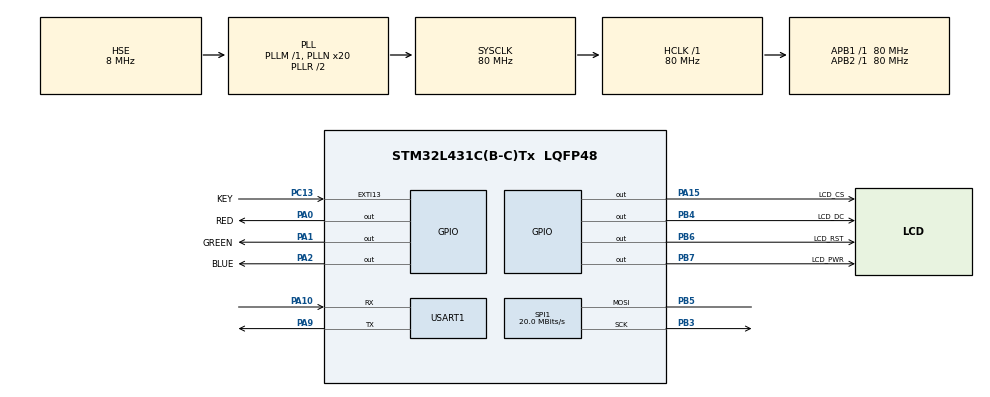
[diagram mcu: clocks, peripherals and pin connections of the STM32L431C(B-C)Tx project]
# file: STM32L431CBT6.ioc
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Dma.Request0=SPI1_TX
Dma.SPI1_TX.0.Direction=DMA_MEMORY_TO_PERIPH
Dma.SPI1_TX.0.Instance=DMA1_Channel3
Dma.SPI1_TX.0.MemDataAlignment=DMA_MDATAALIGN_BYTE
Dma.SPI1_TX.0.MemInc=DMA_MINC_ENABLE
Dma.SPI1_TX.0.Mode=DMA_NORMAL
Dma.SPI1_TX.0.PeriphDataAlignment=DMA_PDATAALIGN_BYTE
Dma.SPI1_TX.0.PeriphInc=DMA_PINC_DISABLE
Dma.SPI1_TX.0.Priority=DMA_PRIORITY_LOW
Mcu.Family=STM32L4
Mcu.Name=STM32L431C(B-C)Tx
Mcu.Package=LQFP48
NVIC.DMA1_Channel3_IRQn=true\:0\:0\:false\:false\:true\:false\:true\:true
NVIC.EXTI15_10_IRQn=true\:1\:0\:true\:false\:true\:true\:true\:true
NVIC.PriorityGroup=NVIC_PRIORITYGROUP_4
NVIC.USART1_IRQn=true\:0\:0\:false\:false\:true\:true\:true\:true
PA0.GPIO_Label=RED
PA0.GPIO_PuPd=GPIO_PULLUP
PA0.PinState=GPIO_PIN_SET
PA0.Signal=GPIO_Output
PA1.GPIO_Label=GREEN
PA1.GPIO_PuPd=GPIO_PULLUP
PA1.PinState=GPIO_PIN_SET
PA1.Signal=GPIO_Output
PA10.Mode=Asynchronous
PA10.Signal=USART1_RX
PA13\ (JTMS-SWDIO).Mode=Serial_Wire
PA13\ (JTMS-SWDIO).Signal=SYS_JTMS-SWDIO
PA14\ (JTCK-SWCLK).Mode=Serial_Wire
PA14\ (JTCK-SWCLK).Signal=SYS_JTCK-SWCLK
PA15\ (JTDI).GPIO_Label=LCD_CS
PA15\ (JTDI).GPIO_PuPd=GPIO_PULLUP
PA15\ (JTDI).Signal=GPIO_Output
PA2.GPIO_Label=BLUE
PA2.GPIO_PuPd=GPIO_PULLUP
PA2.PinState=GPIO_PIN_SET
PA2.Signal=GPIO_Output
PA9.Mode=Asynchronous
PA9.Signal=USART1_TX
PB3\ (JTDO-TRACESWO).GPIO_PuPd=GPIO_PULLUP
PB3\ (JTDO-TRACESWO).Mode=Simplex_Bidirectional_Master
PB3\ (JTDO-TRACESWO).Signal=SPI1_SCK
PB4\ (NJTRST).GPIO_Label=LCD_DC
PB4\ (NJTRST).GPIO_PuPd=GPIO_PULLUP
PB4\ (NJTRST).Signal=GPIO_Output
PB5.GPIO_PuPd=GPIO_PULLUP
PB5.Mode=Simplex_Bidirectional_Master
PB5.Signal=SPI1_MOSI
PB6.GPIO_Label=LCD_RST
PB6.GPIO_PuPd=GPIO_PULLUP
PB6.PinState=GPIO_PIN_RESET
PB6.Signal=GPIO_Output
PB7.GPIO_Label=LCD_PWR
PB7.GPIO_PuPd=GPIO_PULLUP
PB7.Signal=GPIO_Output
PC13.GPIO_Label=KEY
PC13.GPIO_PuPd=GPIO_PULLUP
PC13.Signal=GPXTI13
PH0-OSC_IN\ (PH0).Mode=HSE-External-Oscillator
PH0-OSC_IN\ (PH0).Signal=RCC_OSC_IN
PH1-OSC_OUT\ (PH1).Mode=HSE-External-Oscillator
PH1-OSC_OUT\ (PH1).Signal=RCC_OSC_OUT
ProjectManager.HeapSize=0x400
ProjectManager.StackSize=0x400
ProjectManager.TargetToolchain=CMake
RCC.ADCFreq_Value=32000000
RCC.AHBFreq_Value=80000000
RCC.APB1Freq_Value=80000000
RCC.APB1TimFreq_Value=80000000
RCC.APB2Freq_Value=80000000
RCC.APB2TimFreq_Value=80000000
RCC.CortexFreq_Value=80000000
RCC.HCLKFreq_Value=80000000
RCC.HSE_VALUE=8000000
RCC.HSI48_VALUE=48000000
RCC.HSI_VALUE=16000000
RCC.LSE_VALUE=32768
RCC.MSI_VALUE=4000000
RCC.PLLN=20
RCC.PLLSourceVirtual=RCC_PLLSOURCE_HSE
RCC.SYSCLKFreq_VALUE=80000000
RCC.SYSCLKSource=RCC_SYSCLKSOURCE_PLLCLK
RCC.VCOOutputFreq_Value=160000000
SPI1.BaudRatePrescaler=SPI_BAUDRATEPRESCALER_4
SPI1.CLKPhase=SPI_PHASE_2EDGE
SPI1.CLKPolarity=SPI_POLARITY_HIGH
SPI1.CalculateBaudRate=20.0 MBits/s
SPI1.DataSize=SPI_DATASIZE_8BIT
SPI1.Direction=SPI_DIRECTION_1LINE
SPI1.Mode=SPI_MODE_MASTER
SPI1.VirtualType=VM_MASTER
USART1.VirtualMode-Asynchronous=VM_ASYNC
board=custom

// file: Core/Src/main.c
/* USER CODE BEGIN Header */
/**
  ******************************************************************************
  * @file           : main.c
  * @brief          : Main program body
  ******************************************************************************
  * @attention
  *
  * Copyright (c) 2026 STMicroelectronics.
  * All rights reserved.
  *
  * This software is licensed under terms that can be found in the LICENSE file
  * in the root directory of this software component.
  * If no LICENSE file comes with this software, it is provided AS-IS.
  *
  ******************************************************************************
  */
/* USER CODE END Header */
#include "main.h"
#include "dma.h"
#include "spi.h"
#include "usart.h"
#include "gpio.h"

/* USER CODE BEGIN Includes */
#include "lcd.h"
#include "key.h"
#include "menu.h"
#include "ota_core.h"
#include "ota_proto.h"
/* USER CODE END Includes */

/* USER CODE BEGIN PV */
ota_ctx_t g_ota_ctx;
proto_ctx_t g_proto_ctx;
static uint8_t g_rx_byte;
volatile uint8_t g_frame_ready;

static uint16_t line_buffer[2400];

lcd_io lcd_io_desc = {
    .spi = &hspi1,
    .rst = {LCD_RST_GPIO_Port,  LCD_RST_Pin,  0},
    .bl  = {LCD_PWR_GPIO_Port,  LCD_PWR_Pin,  0},
    .cs  = {LCD_CS_GPIO_Port,   LCD_CS_Pin,   0},
    .dc  = {LCD_DC_GPIO_Port,   LCD_DC_Pin,   0},
};

lcd lcd_dev = {
    .io = &lcd_io_desc,
    .line_buffer = line_buffer,
};
/* USER CODE END PV */

void SystemClock_Config(void);

/* USER CODE BEGIN 0 */
static void uart_send(const uint8_t *data, uint16_t len)
{
    HAL_UART_Transmit(&huart1, (uint8_t *)data, len, 1000);
}

void HAL_UART_RxCpltCallback(UART_HandleTypeDef *huart)
{
    if (huart->Instance == USART1) {
        if (proto_feed_byte(&g_proto_ctx, g_rx_byte)) {
            g_frame_ready = 1;
        }
        HAL_UART_Receive_IT(&huart1, &g_rx_byte, 1);
    }
}
/* USER CODE END 0 */

int main(void)
{

  /* MCU Configuration--------------------------------------------------------*/

  /* Reset of all peripherals, Initializes the Flash interface and the Systick. */
  HAL_Init();

  /* Configure the system clock */
  SystemClock_Config();

  /* Initialize all configured peripherals */
  MX_GPIO_Init();
  MX_DMA_Init();
  MX_USART1_UART_Init();
  MX_SPI1_Init();
  /* USER CODE BEGIN 2 */
  key_init();
  lcd_init_dev(&lcd_dev, LCD_1_14_INCH, LCD_ROTATE_90);
  menu_init(&lcd_dev);

  /* OTA: confirm new firmware is running OK */
  ota_confirm_app();

  /* OTA: init protocol and start UART receive */
  ota_init(&g_ota_ctx);
  proto_init(&g_proto_ctx, uart_send);
  HAL_UART_Receive_IT(&huart1, &g_rx_byte, 1);
  /* USER CODE END 2 */

  /* Infinite loop */
  while (1)
  {

    /* USER CODE BEGIN 3 */
    key_event_t evt = key_read();
    menu_process(evt);

    /* OTA: process complete frame if received */
    if (g_frame_ready) {
        g_frame_ready = 0;
        proto_process(&g_proto_ctx);
    }
  }
  /* USER CODE END 3 */
}

void SystemClock_Config(void)
{
  RCC_OscInitTypeDef RCC_OscInitStruct = {0};
  RCC_ClkInitTypeDef RCC_ClkInitStruct = {0};

  /** Configure the main internal regulator output voltage
  */
  if (HAL_PWREx_ControlVoltageScaling(PWR_REGULATOR_VOLTAGE_SCALE1) != HAL_OK)
  {
    Error_Handler();
  }

  /** Initializes the RCC Oscillators according to the specified parameters
  * in the RCC_OscInitTypeDef structure.
  */
  RCC_OscInitStruct.OscillatorType = RCC_OSCILLATORTYPE_HSE;
  RCC_OscInitStruct.HSEState = RCC_HSE_ON;
  RCC_OscInitStruct.PLL.PLLState = RCC_PLL_ON;
  RCC_OscInitStruct.PLL.PLLSource = RCC_PLLSOURCE_HSE;
  RCC_OscInitStruct.PLL.PLLM = 1;
  RCC_OscInitStruct.PLL.PLLN = 20;
  RCC_OscInitStruct.PLL.PLLP = RCC_PLLP_DIV7;
  RCC_OscInitStruct.PLL.PLLQ = RCC_PLLQ_DIV2;
  RCC_OscInitStruct.PLL.PLLR = RCC_PLLR_DIV2;
  if (HAL_RCC_OscConfig(&RCC_OscInitStruct) != HAL_OK)
  {
    Error_Handler();
  }

  /** Initializes the CPU, AHB and APB buses clocks
  */
  RCC_ClkInitStruct.ClockType = RCC_CLOCKTYPE_HCLK|RCC_CLOCKTYPE_SYSCLK
                              |RCC_CLOCKTYPE_PCLK1|RCC_CLOCKTYPE_PCLK2;
  RCC_ClkInitStruct.SYSCLKSource = RCC_SYSCLKSOURCE_PLLCLK;
  RCC_ClkInitStruct.AHBCLKDivider = RCC_SYSCLK_DIV1;
  RCC_ClkInitStruct.APB1CLKDivider = RCC_HCLK_DIV1;
  RCC_ClkInitStruct.APB2CLKDivider = RCC_HCLK_DIV1;

  if (HAL_RCC_ClockConfig(&RCC_ClkInitStruct, FLASH_LATENCY_4) != HAL_OK)
  {
    Error_Handler();
  }
}

void Error_Handler(void)
{
  __disable_irq();
  while (1)
  {
  }
}
